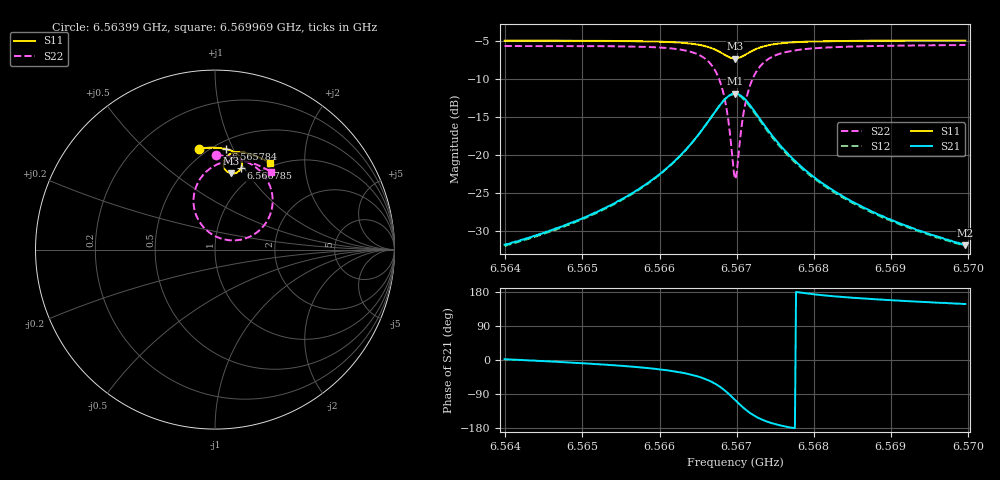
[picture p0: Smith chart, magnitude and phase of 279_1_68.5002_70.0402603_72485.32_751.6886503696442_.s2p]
#  HZ  S  RI  R  50.00
! Rohde & Schwarz Vector Network Analyzer
! Rohde-Schwarz,ZNB20-2Port,1311601062101988,3.16
! Created: UTC 3/20/2024, 5:01:04 PM
! freq[Hz]  re:S11  im:S11  re:S21  im:S21  re:S12  im:S12  re:S22  im:S22
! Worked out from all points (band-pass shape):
!   401 points, 6.56399 GHz to 6.569969 GHz, reference 50 ohm
!   highest |S21| = -11.89 dB at 6.56698 GHz (marker M1); lowest = -31.9 dB at 6.569969 GHz (marker M2)
!   |S21| within 3 dB of the highest: 6.56668 GHz to 6.567278 GHz (598.4 kHz wide, 0.00911 % of centre)
!   lowest |S11| = -7.3 dB at 6.56698 GHz (marker M3), VSWR 2.53, Z = 40.1 + j41.9 ohm
!   |S11| at or under -10 dB: nowhere
!   |S22| runs from -23.2 to -5.5 dB; largest |S21 - S12| = 0.011
!   S11 on the Smith chart (normalised r, x): 6.56399 GHz: 0.45, +0.75; 6.565784 GHz: 0.57, +0.94; 6.566785 GHz: 0.82, +0.97; 6.569969 GHz: 0.95, +1.35
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6.5639897e9  -0.0908 0.5618  0.0255 0.000991  0.025 0.000414  0.00734 0.5245
6.5649913e9  -0.0104 0.568  0.0375 -0.00566  0.037 -0.00613  0.0977 0.5154
6.5657836e9  0.0601 0.5604  0.0582 -0.0213  0.0572 -0.022  0.1894 0.4828
6.5659929e9  0.0808 0.5548  0.0674 -0.0308  0.0663 -0.0316  0.2207 0.4634
6.5663218e9  0.1166 0.5374  0.0869 -0.06  0.0855 -0.0613  0.2787 0.4052
6.566546e9  0.1413 0.5113  0.0994 -0.1054  0.0974 -0.1072  0.3167 0.3182
6.5666806e9  0.1505 0.4839  0.0953 -0.153  0.0917 -0.1557  0.3165 0.227
6.5667852e9  0.1459 0.4554  0.0702 -0.202  0.0639 -0.2044  0.2738 0.1354
6.56683e9  0.1383 0.4431  0.0489 -0.2225  0.0411 -0.2244  0.2354 0.0974
6.5668749e9  0.1266 0.4324  0.02 -0.2395  0.0109 -0.2399  0.1832 0.0673
6.5669496e9  0.0994 0.4239  -0.0411 -0.2498  -0.0513 -0.2464  0.0744 0.0526
6.5669795e9  0.0875 0.425  -0.0669 -0.2453  -0.0768 -0.2401  0.0294 0.063
6.5670094e9  0.0762 0.4289  -0.0913 -0.2359  -0.1004 -0.2291  -0.0121 0.0819
6.5670692e9  0.0581 0.4433  -0.1311 -0.2052  -0.1374 -0.1961  -0.0767 0.1403
6.567129e9  0.0485 0.4623  -0.1547 -0.1669  -0.1579 -0.157  -0.1112 0.2104
6.5671888e9  0.0469 0.4815  -0.1637 -0.1291  -0.1643 -0.1201  -0.1198 0.2767
6.5672636e9  0.0525 0.5013  -0.1611 -0.0901  -0.1598 -0.0825  -0.1074 0.3441
6.5675177e9  0.0896 0.535  -0.122 -0.0212  -0.1193 -0.0178  -0.0184 0.4579
6.5679811e9  0.1484 0.542  -0.0725 0.00773  -0.0708 0.00893  0.0999 0.4959
6.5684446e9  0.1928 0.5333  -0.0494 0.013  -0.0482 0.0135  0.1703 0.491
6.5689827e9  0.2371 0.5179  -0.0351 0.0139  -0.0342 0.0144  0.2287 0.4744
6.5699694e9  0.3077 0.4811  -0.0214 0.0135  -0.0211 0.0137  0.3093 0.4337
